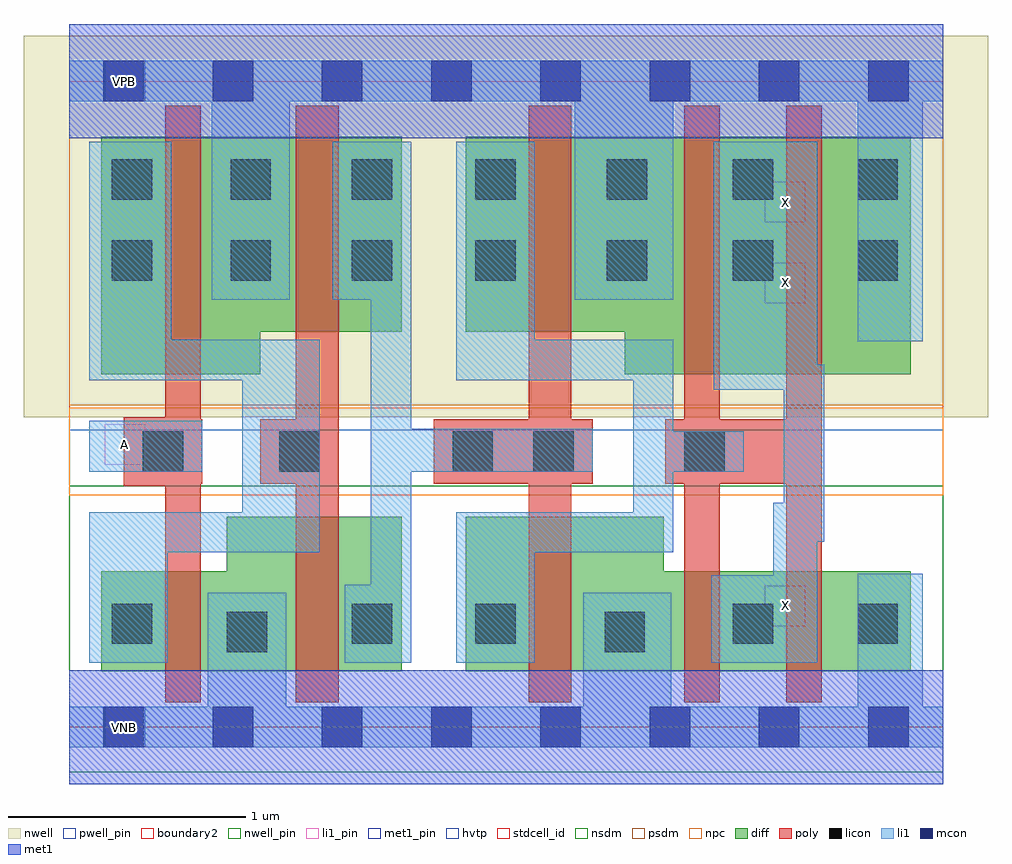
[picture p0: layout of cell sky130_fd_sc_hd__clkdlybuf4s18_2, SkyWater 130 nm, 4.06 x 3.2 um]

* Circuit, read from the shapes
.subckt sky130_fd_sc_hd__clkdlybuf4s18_2 A VGND VNB VPB VPWR X
XM1 VGND A n1 VNB sky130_fd_pr__nfet_01v8 w=0.42 l=0.15
XM2 n2 n1 VGND VNB sky130_fd_pr__nfet_01v8 w=0.65 l=0.18
XM3 VGND n2 n3 VNB sky130_fd_pr__nfet_01v8 w=0.65 l=0.18
XM4 X n3 VGND VNB sky130_fd_pr__nfet_01v8 w=0.42 l=0.15 m=2
XM5 VPWR A n1 VPB sky130_fd_pr__pfet_01v8_hvt w=1 l=0.15
XM6 n2 n1 VPWR VPB sky130_fd_pr__pfet_01v8_hvt w=0.82 l=0.18
XM7 VPWR n2 n3 VPB sky130_fd_pr__pfet_01v8_hvt w=0.82 l=0.18
XM8 X n3 VPWR VPB sky130_fd_pr__pfet_01v8_hvt w=1 l=0.15 m=2
.ends

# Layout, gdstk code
import gdstk
lib = gdstk.Library(unit=1e-6, precision=1e-09)
def R(c, l, rs):  # rectangles x0, y0, x1, y1
    for r in rs: c.add(gdstk.rectangle(r[:2], r[2:], *l))
def A(c, l, x, y, w, h, nx, ny, dx, dy):  # array of equal rectangles
    R(c, l, [(x+i*dx, y+j*dy, x+i*dx+w, y+j*dy+h) for i in range(nx) for j in range(ny)])
def P(c, l, *ps):  # polygons
    for p in ps: c.add(gdstk.Polygon(p, *l))
nwell_pin = (64, 16)
nwell = (64, 20)
diff = (65, 20)
poly = (66, 20)
licon = (66, 44)
li1_pin = (67, 16)
li1 = (67, 20)
mcon = (67, 44)
met1_pin = (68, 16)
met1 = (68, 20)
hvtp = (78, 44)
stdcell_id = (81, 4)
nsdm = (93, 44)
psdm = (94, 20)
npc = (95, 20)
pwell_pin = (122, 16)
boundary2 = (236, 0)

sky130_fd_sc_hd__clkdlyb = lib.new_cell('sky130_fd_sc_hd__clkdlybuf4s18_2')
R(sky130_fd_sc_hd__clkdlyb, nwell_pin, [(0.15,2.635,0.32,2.805)])
R(sky130_fd_sc_hd__clkdlyb, nwell, [(-0.19,1.305,3.87,2.91)])
P(sky130_fd_sc_hd__clkdlyb, diff, [(1.4,2.485),(0.135,2.485),(0.135,1.485),(0.805,1.485),(0.805,1.665),(1.4,1.665)],
  [(1.4,0.885),(0.665,0.885),(0.665,0.655),(0.135,0.655),(0.135,0.235),(1.4,0.235)],
  [(3.545,2.485),(1.67,2.485),(1.67,1.665),(2.34,1.665),(2.34,1.485),(3.545,1.485)],
  [(3.545,0.655),(2.505,0.655),(2.505,0.885),(1.67,0.885),(1.67,0.235),(3.545,0.235)])
P(sky130_fd_sc_hd__clkdlyb, poly, [(0.56,1.295),(0.555,1.295),(0.555,2.615),(0.405,2.615),(0.405,1.305),(0.23,1.305),(0.23,1.015),(0.405,1.015),(0.405,0.105),(0.555,0.105),(0.555,1.025),(0.56,1.025)],
  [(1.135,2.615),(0.955,2.615),(0.955,1.295),(0.805,1.295),(0.805,1.025),(0.955,1.025),(0.955,0.105),(1.135,0.105)],
  [(2.205,1.295),(2.115,1.295),(2.115,2.615),(1.935,2.615),(1.935,1.295),(1.535,1.295),(1.535,1.025),(1.935,1.025),(1.935,0.105),(2.115,0.105),(2.115,1.025),(2.205,1.025)],
  [(3.17,2.615),(3.02,2.615),(3.02,1.295),(2.74,1.295),(2.74,2.615),(2.59,2.615),(2.59,1.295),(2.51,1.295),(2.51,1.025),(2.59,1.025),(2.59,0.105),(2.74,0.105),(2.74,1.025),(3.02,1.025),(3.02,0.105),(3.17,0.105)])
R(sky130_fd_sc_hd__clkdlyb, licon, [(0.665,0.315,0.835,0.485), (2.255,0.315,2.425,0.485), (0.18,0.35,0.35,0.52), (1.19,0.35,1.36,0.52), (1.71,0.35,1.88,0.52), (2.795,0.35,2.965,0.52), (3.32,0.35,3.49,0.52), (0.31,1.075,0.48,1.245), (0.885,1.075,1.055,1.245), (1.615,1.075,1.785,1.245), (1.955,1.075,2.125,1.245), (2.59,1.075,2.76,1.245), (0.18,1.88,0.35,2.05), (0.68,1.88,0.85,2.05), (1.19,1.88,1.36,2.05), (1.71,1.88,1.88,2.05), (2.265,1.88,2.435,2.05), (2.795,1.88,2.965,2.05), (3.32,1.88,3.49,2.05), (0.18,2.22,0.35,2.39), (0.68,2.22,0.85,2.39), (1.19,2.22,1.36,2.39), (1.71,2.22,1.88,2.39), (2.265,2.22,2.435,2.39), (2.795,2.22,2.965,2.39), (3.32,2.22,3.49,2.39)])
R(sky130_fd_sc_hd__clkdlyb, li1_pin, [(2.93,0.425,3.1,0.595), (0.15,1.105,0.32,1.275), (2.93,1.785,3.1,1.955), (2.93,2.125,3.1,2.295)])
R(sky130_fd_sc_hd__clkdlyb, li1, [(0.085,1.075,0.56,1.29)])
P(sky130_fd_sc_hd__clkdlyb, li1, [(1.055,1.63),(0.43,1.63),(0.43,2.465),(0.085,2.465),(0.085,1.46),(0.73,1.46),(0.73,0.905),(0.085,0.905),(0.085,0.27),(0.415,0.27),(0.415,0.735),(1.055,0.735)],
  [(2.205,1.255),(1.44,1.255),(1.44,2.465),(1.11,2.465),(1.11,1.8),(1.27,1.8),(1.27,0.6),(1.16,0.6),(1.16,0.27),(1.44,0.27),(1.44,1.075),(2.205,1.075)],
  [(2.84,1.245),(2.545,1.245),(2.545,1.63),(1.96,1.63),(1.96,2.465),(1.63,2.465),(1.63,1.46),(2.375,1.46),(2.375,0.905),(1.63,0.905),(1.63,0.27),(1.96,0.27),(1.96,0.735),(2.545,0.735),(2.545,1.075),(2.84,1.075)],
  [(3.68,0.085),(3.595,0.085),(3.595,0.645),(3.32,0.645),(3.32,0.085),(2.535,0.085),(2.535,0.565),(2.165,0.565),(2.165,0.085),(0.915,0.085),(0.915,0.565),(0.585,0.565),(0.585,0.085),(0,0.085),(0,-0.085),(3.68,-0.085)],
  [(3.68,2.805),(0,2.805),(0,2.635),(0.6,2.635),(0.6,1.8),(0.93,1.8),(0.93,2.635),(2.13,2.635),(2.13,1.8),(2.545,1.8),(2.545,2.635),(3.32,2.635),(3.32,1.625),(3.595,1.625),(3.595,2.635),(3.68,2.635)],
  [(3.18,1.525),(3.15,1.525),(3.15,2.465),(2.715,2.465),(2.715,1.42),(3.01,1.42),(3.01,0.945),(2.965,0.945),(2.965,0.64),(2.705,0.64),(2.705,0.27),(3.15,0.27),(3.15,0.78),(3.18,0.78)])
A(sky130_fd_sc_hd__clkdlyb, mcon, 0.145, -0.085, 0.17, 0.17, 8, 2, 0.46, 2.72)
R(sky130_fd_sc_hd__clkdlyb, met1_pin, [(0.15,-0.085,0.32,0.085), (0.15,2.635,0.32,2.805)])
R(sky130_fd_sc_hd__clkdlyb, hvtp, [(0,1.25,3.68,2.72)])
R(sky130_fd_sc_hd__clkdlyb, stdcell_id, [(0,0,3.68,2.72)])
R(sky130_fd_sc_hd__clkdlyb, nsdm, [(0,-0.19,3.68,1.015)])
R(sky130_fd_sc_hd__clkdlyb, psdm, [(0,1.355,3.68,2.91)])
R(sky130_fd_sc_hd__clkdlyb, npc, [(0,0.975,3.68,1.345)])
R(sky130_fd_sc_hd__clkdlyb, pwell_pin, [(0.15,-0.085,0.32,0.085)])
R(sky130_fd_sc_hd__clkdlyb, boundary2, [(0,0,3.68,2.72)])
sky130_fd_sc_hd__clkdlyb.add(gdstk.FlexPath([(0,0),(3.68,0)], 0.48, ends="flush", simple_path=True, layer=68, datatype=20))  # met1
sky130_fd_sc_hd__clkdlyb.add(gdstk.FlexPath([(0,2.72),(3.68,2.72)], 0.48, ends="flush", simple_path=True, layer=68, datatype=20))  # met1
sky130_fd_sc_hd__clkdlyb.add(gdstk.Label('A', (0.235,1.19), layer=67, texttype=5))
sky130_fd_sc_hd__clkdlyb.add(gdstk.Label('X', (3.015,0.51), layer=67, texttype=5))
sky130_fd_sc_hd__clkdlyb.add(gdstk.Label('X', (3.015,2.21), layer=67, texttype=5))
sky130_fd_sc_hd__clkdlyb.add(gdstk.Label('X', (3.015,1.87), layer=67, texttype=5))
sky130_fd_sc_hd__clkdlyb.add(gdstk.Label('VNB', (0.235,0), layer=64, texttype=59))
sky130_fd_sc_hd__clkdlyb.add(gdstk.Label('VPB', (0.235,2.72), layer=64, texttype=5))
sky130_fd_sc_hd__clkdlyb.add(gdstk.Label('VGND', (0.23,0), layer=68, texttype=5))
sky130_fd_sc_hd__clkdlyb.add(gdstk.Label('VPWR', (0.23,2.72), layer=68, texttype=5))
sky130_fd_sc_hd__clkdlyb.add(gdstk.Label('clkdlybuf4s18_2', (0,0), layer=83, texttype=44))

lib.write_gds('sky130_fd_sc_hd__clkdlybuf4s18_2.gds')
